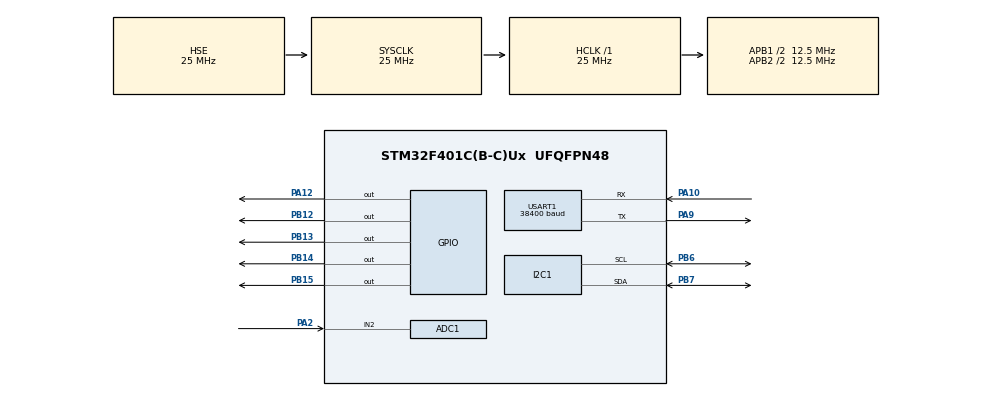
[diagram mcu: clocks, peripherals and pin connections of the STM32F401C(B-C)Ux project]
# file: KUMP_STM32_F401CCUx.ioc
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ADC1.Channel-1\#ChannelRegularConversion=ADC_CHANNEL_2
ADC1.ExternalTrigConv=ADC_EXTERNALTRIGCONV_T3_TRGO
ADC1.NbrOfConversion=1
ADC1.NbrOfConversionFlag=1
ADC1.Rank-1\#ChannelRegularConversion=1
ADC1.SamplingTime-1\#ChannelRegularConversion=ADC_SAMPLETIME_3CYCLES
ADC1.master=1
I2C1.AddressingMode=I2C_ADDRESSINGMODE_7BIT
I2C1.NoStretchMode=I2C_NOSTRETCH_DISABLE
Mcu.Family=STM32F4
Mcu.Name=STM32F401C(B-C)Ux
Mcu.Package=UFQFPN48
NVIC.ADC_IRQn=true\:0\:0\:false\:false\:true\:true\:true\:true
NVIC.I2C1_ER_IRQn=true\:0\:0\:false\:false\:true\:true\:true\:true
NVIC.I2C1_EV_IRQn=true\:0\:0\:false\:false\:true\:true\:true\:true
NVIC.PriorityGroup=NVIC_PRIORITYGROUP_4
NVIC.TIM1_UP_TIM10_IRQn=true\:0\:0\:false\:false\:true\:true\:true\:true
NVIC.TIM2_IRQn=true\:0\:0\:false\:false\:true\:true\:true\:true
NVIC.TIM3_IRQn=true\:0\:0\:false\:false\:true\:true\:true\:true
NVIC.TIM4_IRQn=true\:0\:0\:false\:false\:true\:true\:true\:true
NVIC.USART1_IRQn=true\:0\:0\:false\:false\:true\:true\:true\:true
PA10.Mode=Asynchronous
PA10.Signal=USART1_RX
PA12.Signal=GPIO_Output
PA2.Signal=ADCx_IN2
PA9.Mode=Asynchronous
PA9.Signal=USART1_TX
PB12.Signal=GPIO_Output
PB13.Signal=GPIO_Output
PB14.Signal=GPIO_Output
PB15.Signal=GPIO_Output
PB6.Mode=I2C
PB6.Signal=I2C1_SCL
PB7.Mode=I2C
PB7.Signal=I2C1_SDA
PH0\ -\ OSC_IN.Mode=HSE-External-Oscillator
PH0\ -\ OSC_IN.Signal=RCC_OSC_IN
PH1\ -\ OSC_OUT.Mode=HSE-External-Oscillator
PH1\ -\ OSC_OUT.Signal=RCC_OSC_OUT
ProjectManager.HeapSize=0x200
ProjectManager.StackSize=0x400
ProjectManager.TargetToolchain=STM32CubeIDE
RCC.48MHZClocksFreq_Value=75000000
RCC.AHBFreq_Value=25000000
RCC.APB1CLKDivider=RCC_HCLK_DIV2
RCC.APB1Freq_Value=12500000
RCC.APB1TimFreq_Value=25000000
RCC.APB2CLKDivider=RCC_HCLK_DIV2
RCC.APB2Freq_Value=12500000
RCC.APB2TimFreq_Value=25000000
RCC.CortexFreq_Value=25000000
RCC.HCLKFreq_Value=25000000
RCC.HSE_VALUE=25000000
RCC.HSI_VALUE=16000000
RCC.LSE_VALUE=32768
RCC.PLLSourceVirtual=RCC_PLLSOURCE_HSE
RCC.SYSCLKFreq_VALUE=25000000
RCC.SYSCLKSource=RCC_SYSCLKSOURCE_HSE
RCC.VCOOutputFreq_Value=300000000
SH.ADCx_IN2.0=ADC1_IN2,IN2
TIM1.Period=750
TIM1.Prescaler=24
TIM2.Period=1750
TIM2.Prescaler=24
TIM3.Period=50000
TIM3.Prescaler=49
TIM3.TIM_MasterOutputTrigger=TIM_TRGO_UPDATE
TIM4.Period=10000
TIM4.Prescaler=249
USART1.BaudRate=38400
USART1.Parity=PARITY_EVEN
USART1.StopBits=STOPBITS_1
USART1.VirtualMode=VM_ASYNC
USART1.WordLength=WORDLENGTH_9B
VP_TIM1_VS_ClockSourceINT.Mode=Internal
VP_TIM2_VS_ClockSourceINT.Mode=Internal
VP_TIM3_VS_ClockSourceINT.Mode=Internal
VP_TIM4_VS_ClockSourceINT.Mode=Internal
board=custom

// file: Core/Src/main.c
/* USER CODE BEGIN Header */
/**
 ******************************************************************************
 * @file           : main.c
 * @brief          : Main program body
 ******************************************************************************
 * @attention
 *
 * Copyright (c) 2023 STMicroelectronics.
 * All rights reserved.
 *
 * This software is licensed under terms that can be found in the LICENSE file
 * in the root directory of this software component.
 * If no LICENSE file comes with this software, it is provided AS-IS.
 *
 ******************************************************************************
 */
/* USER CODE END Header */
#include "main.h"
#include "adc.h"
#include "i2c.h"
#include "tim.h"
#include "usart.h"
#include "gpio.h"

/* USER CODE BEGIN Includes */

#include "sht31.h"
#include <stdlib.h>
#include <stdio.h>
#include <string.h>
#include <locale.h>
/* USER CODE END Includes */

/* USER CODE BEGIN PV */

const unsigned short REG_INPUT_START = 0x0;
const unsigned short REG_INPUT_NREGS = 0x4;

const unsigned char FC_RD_INPUT_RG = 0x4;

const unsigned char EXCEPTION_CODE1 = 1;
const unsigned char EXCEPTION_CODE2 = 2;
const unsigned char EXCEPTION_CODE3 = 3;
const unsigned char EXCEPTION_CODE4 = 4;

const unsigned char FC_04_HLENGTH_WITHOUT_CRC = 0x3;
const unsigned char FC_04_HLENGTH_WITH_CRC = 0x5;

const unsigned char DEV_ADDR = 0x40;

const unsigned int ADU_MIN = 5;
const unsigned int ADU_MAX = 256;

unsigned short RegInputStart = 0x0;
signed short RegInputBuf[4] = {0x0};

unsigned short wreq_addr;
unsigned short wreq_dt;

bool FE_Error = false;
bool OE_Error = false;
bool PE_Error = false;
bool NE_Error = false;
int exception = 0;

enum states {
	start_uart_receive_data,
	start_uart_transmit_data,
	check_received_data,
	modbus_functions
};

union unn_t unn;

struct sht31_struct sht31 = {

.byte_counter = 0,
.humidity = { 0 },
.temperature = { 0 } ,
.i2c_inbuff = { 0 },
.rx_done_flag = false,
.i2c_start_flag = false
};

struct Uart uart = {

.rx_done_flag = false,
.tx_done_flag = false,
.tx_ready_flag = false,
.uart_inbuf = { 0 },
.uart_outbuf = { 0 },
.p_uart_inbuf = uart.uart_inbuf,
.p_uart_outbuf = uart.uart_outbuf,
.receive_byte = 0,
.byte_to_send = 0,
.state = start_uart_receive_data
};

struct Adc adc_struct = {

.adc_counter = 0,
.adc_data_ready = false,
.adc = { 0 },
.adc_val = 0,
.pressure = 0,
.voltage = 0

};

/* USER CODE END PV */

void SystemClock_Config(void);
/* USER CODE BEGIN PFP */
signed char Check_Uart_inbuff(struct Uart *RxTx);
void Data_Exchange(struct Uart *RxTx);
void Modbus_Function(struct Uart *RxTx);
char CRC_16_In(unsigned char size, unsigned char *inbuf);
void CRC_16_Out(unsigned char size, unsigned char *outbuf);
int Read_Input_Reg(struct Uart *RxTx, unsigned short usAddress,signed short sNRegs);
float Get_Pressure_Value(struct Adc *adc_s);

/* USER CODE END PFP */

int main(void)
{

  /* MCU Configuration--------------------------------------------------------*/

  /* Reset of all peripherals, Initializes the Flash interface and the Systick. */
  HAL_Init();

  /* Configure the system clock */
  SystemClock_Config();

  /* Initialize all configured peripherals */
  MX_GPIO_Init();
  MX_ADC1_Init();
  MX_USART1_UART_Init();
  MX_I2C1_Init();
  MX_TIM2_Init();
  MX_TIM3_Init();
  MX_TIM1_Init();
  MX_TIM4_Init();
  /* USER CODE BEGIN 2 */

  Set_Status_Flag(PMNC_BIT_POS);
  Set_Status_Flag(THMNC_BIT_POS);
  HAL_Delay(2);

  TIM_GET_CLEAR_IT(&htim1,TIM_IT_UPDATE);
  TIM_GET_CLEAR_IT(&htim2,TIM_IT_UPDATE);
  TIM_GET_CLEAR_IT(&htim3,TIM_IT_UPDATE);
  TIM_GET_CLEAR_IT(&htim4,TIM_IT_UPDATE);
  HAL_TIM_Base_Start_IT(&htim3);
  HAL_TIM_Base_Start_IT(&htim4);
  HAL_ADC_Start_IT(&hadc1);

  /* USER CODE END 2 */

  /* Infinite loop */
  /* USER CODE BEGIN WHILE */
	while (1) {
		Read_Temperature_Humidity(&hi2c1, &sht31, &unn, RegInputBuf);
		Get_Pressure_Value(&adc_struct);
		Data_Exchange(&uart);

	}

    /* USER CODE END WHILE */

}

void SystemClock_Config(void)
{
  RCC_OscInitTypeDef RCC_OscInitStruct = {0};
  RCC_ClkInitTypeDef RCC_ClkInitStruct = {0};

  /** Configure the main internal regulator output voltage
  */
  __HAL_RCC_PWR_CLK_ENABLE();
  __HAL_PWR_VOLTAGESCALING_CONFIG(PWR_REGULATOR_VOLTAGE_SCALE2);

  /** Initializes the RCC Oscillators according to the specified parameters
  * in the RCC_OscInitTypeDef structure.
  */
  RCC_OscInitStruct.OscillatorType = RCC_OSCILLATORTYPE_HSE;
  RCC_OscInitStruct.HSEState = RCC_HSE_ON;
  RCC_OscInitStruct.PLL.PLLState = RCC_PLL_NONE;
  if (HAL_RCC_OscConfig(&RCC_OscInitStruct) != HAL_OK)
  {
    Error_Handler();
  }

  /** Initializes the CPU, AHB and APB buses clocks
  */
  RCC_ClkInitStruct.ClockType = RCC_CLOCKTYPE_HCLK|RCC_CLOCKTYPE_SYSCLK
                              |RCC_CLOCKTYPE_PCLK1|RCC_CLOCKTYPE_PCLK2;
  RCC_ClkInitStruct.SYSCLKSource = RCC_SYSCLKSOURCE_HSE;
  RCC_ClkInitStruct.AHBCLKDivider = RCC_SYSCLK_DIV1;
  RCC_ClkInitStruct.APB1CLKDivider = RCC_HCLK_DIV2;
  RCC_ClkInitStruct.APB2CLKDivider = RCC_HCLK_DIV2;

  if (HAL_RCC_ClockConfig(&RCC_ClkInitStruct, FLASH_LATENCY_0) != HAL_OK)
  {
    Error_Handler();
  }
}

/* USER CODE BEGIN 4 */

void Data_Exchange(struct Uart *RxTx) {

	switch (RxTx->state) {

	case start_uart_receive_data:

		if(UART_Start_Receive_IT(&huart1, uart.p_uart_inbuf++, 1)==HAL_OK){

			RxTx->state = check_received_data;
		};

		break;

	case check_received_data:

		if (RxTx->rx_done_flag) {
			RxTx->rx_done_flag = false;
			RxTx->p_uart_inbuf = RxTx->uart_inbuf;

			if ((Check_Uart_inbuff(RxTx) == 0)
					&& (RxTx->uart_inbuf[0] == DEV_ADDR)) {
				RxTx->state = modbus_functions;
			} else {

				HAL_TIM_Base_Stop_IT(&htim2);
				RxTx->state = start_uart_receive_data;
			}
			FE_Error = 0;
			OE_Error = 0;
			PE_Error = 0;
			NE_Error = 0;
			RxTx->receive_byte = 0;

		}
//		else if (RxTx->tx_ready_flag==true && RxTx->rx_done_flag == false){
//			RxTx->tx_ready_flag=false;
//			FE_Error = 0;
//				OE_Error = 0;
//				PE_Error = 0;
//				NE_Error = 0;
//				RxTx->receive_byte = 0;
//				RxTx->p_uart_inbuf = RxTx->uart_inbuf;
//
//			RxTx->state = start_uart_receive_data;
//		}

		break;

	case modbus_functions:
		Modbus_Function(RxTx);
		RxTx->state = start_uart_transmit_data;
		break;

	case start_uart_transmit_data:

		if (RxTx->tx_ready_flag == true) {
			RxTx->tx_ready_flag = false;
			HAL_UART_Transmit_IT(&huart1, RxTx->uart_outbuf,
					RxTx->byte_to_send);
			RxTx->state = start_uart_receive_data;

		}
		break;

	}

}

void Modbus_Function(struct Uart *RxTx) {

////////////////READ_INPUT_REGISTERS//////////////////
	if (RxTx->uart_inbuf[1] == FC_RD_INPUT_RG) {

		unn.ch_val[1] = RxTx->uart_inbuf[2];
		unn.ch_val[0] = RxTx->uart_inbuf[3];
		wreq_addr = unn.w_val;
		unn.ch_val[1] = RxTx->uart_inbuf[4];
		unn.ch_val[0] = RxTx->uart_inbuf[5];
		wreq_dt = unn.w_val;
		exception = Read_Input_Reg(RxTx, wreq_addr, wreq_dt);

	} else {

		exception = EXCEPTION_CODE1;
	}
////////////////END_READ_INPUT_REGISTERS//////////////////
	if (exception) {

		RxTx->uart_outbuf[0] = DEV_ADDR;
		RxTx->uart_outbuf[1] = RxTx->uart_inbuf[1] | 0x80;
		RxTx->uart_outbuf[2] = exception;
		CRC_16_Out(0x3, RxTx->uart_outbuf);
		RxTx->byte_to_send = 5;
		exception = 0;

	} else {

		RxTx->uart_outbuf[0] = DEV_ADDR;
		RxTx->uart_outbuf[1] = RxTx->uart_inbuf[1];
		RxTx->uart_outbuf[2] = wreq_dt << 1;
		RxTx->byte_to_send = (wreq_dt << 1) + FC_04_HLENGTH_WITH_CRC;
		CRC_16_Out((wreq_dt << 1) + FC_04_HLENGTH_WITHOUT_CRC,RxTx->uart_outbuf);

	}

}

int Read_Input_Reg(struct Uart *RxTx, unsigned short Address,signed short NRegs) {

	int iRegIndex = 0x0;
	int RegBufferIndex = 0x3;

	if ((NRegs >= 0x0001) && (NRegs <= REG_INPUT_NREGS)) {

		if ((Address >= REG_INPUT_START) && (Address + NRegs <= REG_INPUT_START + REG_INPUT_NREGS)) {
			iRegIndex = (int) (Address - RegInputStart);
			while (NRegs > 0) {
				RxTx->p_uart_outbuf[RegBufferIndex++] = (uint8_t) (RegInputBuf[iRegIndex] >> 8);
				RxTx->p_uart_outbuf[RegBufferIndex++] = (uint8_t) (RegInputBuf[iRegIndex] & 0xFF);
				iRegIndex++;
				NRegs--;
			}

		}

		else

		{

			exception = EXCEPTION_CODE2;
		}
	}

	else {

		exception = EXCEPTION_CODE3;
	}

	return exception;
}

float Get_Pressure_Value(struct Adc *adc_s) {

	if (adc_s->adc_data_ready) {
		adc_s->adc_data_ready = false;

		adc_s->adc_val = Get_Filtred_Data(adc_s->adc, ADC_FILTR_WINDOW);
		adc_s->voltage = adc_s->adc_val * 3.3 / 4096;
		adc_s->pressure = (adc_s->voltage / 3.3 + 0.00842) / 0.002421;

		RegInputBuf[1] = adc_s->pressure*10;
		Reset_Status_Flag(PMNC_BIT_POS);

		if (adc_s->pressure > MAX_PRESS || adc_s->pressure < MIN_PRESS){

			Set_Status_Flag(POL_BIT_POS);
		}
		else
		{
			Reset_Status_Flag(POL_BIT_POS);
		}

	}

	return adc_s->adc_val;
}

float Get_Filtred_Data(float *buff,int window) {

	float sum = 0;
	for (int i = 0; i < window; i++) {

		sum += buff[i];
	}
	return sum / window;

}

void Set_Status_Flag(int flag_pos){

	RegInputBuf[0] |= 1<<flag_pos;

}

void Reset_Status_Flag(int flag_pos){

	RegInputBuf[0] &= ~(1<<flag_pos);

}

signed char Check_Uart_inbuff(struct Uart *RxTx) {

	if (RxTx->receive_byte >= ADU_MAX) {

		return -4;
	}

	if (RxTx->receive_byte < ADU_MIN) {

		return -3;
	}

	if (FE_Error || OE_Error || PE_Error||NE_Error) {

		return -2;
	}

	if (CRC_16_In(RxTx->receive_byte, RxTx->uart_inbuf) != 0) {

		return -1;
	}

	return 0;
}

char CRC_16_In(unsigned char size, unsigned char *inbuf) {
	unsigned short w = 0xffff, w1;
	char shift_cnt, jj;
	unsigned short ii1 = 0;

	union {
		char c[2];
		unsigned short w;
	} u;

	size = size - 2;
	u.c[0] = inbuf[size];
	u.c[1] = inbuf[size + 1];
	jj = size;

	for (; jj > 0; jj--) {
		w1 = (w >> 8) << 8;
		w = (w1 + ((w - w1) ^ (unsigned short) inbuf[ii1++]));

		for (shift_cnt = 0; shift_cnt < 8; shift_cnt++) {
			if ((w & 0x01) == 1)
				w = ((w >> 1) ^ 0xa001);
			else
				w >>= 1;
		}
	}

	if (w == u.w)
		return 0;
	else
		return (char) -1;
}

void CRC_16_Out(unsigned char size, unsigned char *outbuf) {
	unsigned short w = 0xffff, w1;
	char shift_cnt, jj;
	unsigned short ii2 = 0;

	jj = size;

	for (; jj > 0; jj--) {
		w1 = (w >> 8) << 8;
		w = (w1 + ((w - w1) ^ (unsigned short) outbuf[ii2++]));

		for (shift_cnt = 0; shift_cnt < 8; shift_cnt++) {
			if ((w & 0x01) == 1)
				w = ((w >> 1) ^ 0xa001);
			else
				w >>= 1;
		}
	}

	outbuf[size++] = (char) (w & 0x00ff);
	outbuf[size] = (char) (w >> 8);
}

void HAL_I2C_MemRxCpltCallback(I2C_HandleTypeDef *hi2c){

	if(hi2c == &hi2c1){

		sht31.rx_done_flag = true;

	}

}

void HAL_I2C_ErrorCallback(I2C_HandleTypeDef *hi2c){

	sht31.i2c_ecode = true;

}

void HAL_ADC_ConvCpltCallback(ADC_HandleTypeDef *hadc) {

	if (hadc == &hadc1) {

		adc_struct.adc[adc_struct.adc_counter++] = HAL_ADC_GetValue(&hadc1);
		adc_struct.adc_data_ready = true;

		if (adc_struct.adc_counter == 10) {
			adc_struct.adc_counter = 0;
		}

	}

}

void HAL_UART_TxCpltCallback(UART_HandleTypeDef *huart) {
	if (huart == &huart1) {
		uart.tx_done_flag = true;

	}
}

void HAL_UART_RxCpltCallback(UART_HandleTypeDef *huart) {

	if (huart == &huart1) {

		HAL_TIM_Base_Stop_IT(&htim1);
		HAL_TIM_Base_Stop_IT(&htim2);

		__HAL_TIM_SetCounter(&htim1,0x0);
		__HAL_TIM_SetCounter(&htim2,0x0);

		HAL_TIM_Base_Start_IT(&htim1);
		HAL_TIM_Base_Start_IT(&htim2);

		uart.uart_ecode = HAL_UART_GetError(&huart1);
		uart.receive_byte++;
		UART_Start_Receive_IT(&huart1, uart.p_uart_inbuf++, 1);

	}

}

void HAL_UART_ErrorCallback(UART_HandleTypeDef *huart) {

	if (huart == &huart1) {

		if (uart.uart_ecode & UART_FLAG_FE) {

			FE_Error = true;
		}
		if (uart.uart_ecode & UART_FLAG_PE) {

			PE_Error = true;
		}
		if (uart.uart_ecode & UART_FLAG_ORE) {

			OE_Error = true;
		}
		if (uart.uart_ecode &  USART_SR_NE ){

			NE_Error = true;
		}
		uart.uart_ecode = 0;

	}
}

/* USER CODE END 4 */

void Error_Handler(void)
{
	__disable_irq();
	while (1) {
	}
}
